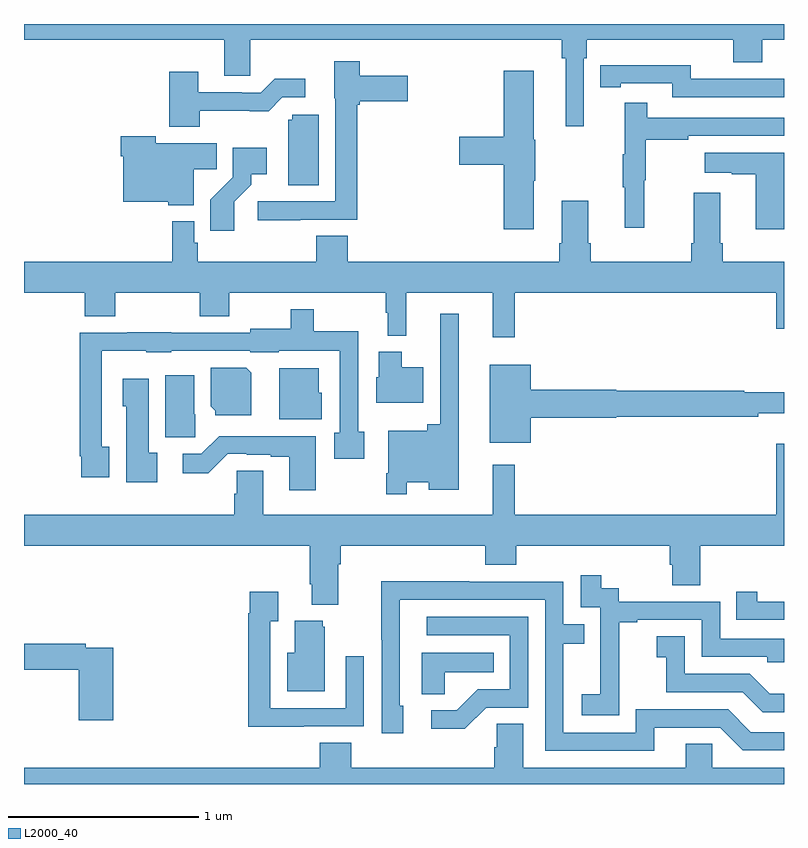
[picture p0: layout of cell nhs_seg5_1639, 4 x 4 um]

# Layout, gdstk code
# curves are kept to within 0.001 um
import gdstk
lib = gdstk.Library(unit=1e-6, precision=1e-09)
def P(c, l, *ps):  # polygons
    for p in ps: c.add(gdstk.Polygon(p, *l))
L2000_40 = (2000, 40)

nhs_seg5_1639 = lib.new_cell('nhs_seg5_1639')
P(nhs_seg5_1639, L2000_40, [(211.947,900.62),(211.961,900.62),(211.961,900.716),(212.732,900.716),(212.732,900.599),(212.885,900.599),(212.885,900.716),(213,900.716),(213,900.799),(209,900.799),(209,900.716),(210.053,900.716),(210.053,900.526),(210.192,900.526),(210.192,900.716),(211.831,900.716),(211.831,900.62),(211.85,900.62),(211.85,900.261),(211.947,900.261)],
  [(210.455,899.769),(210.755,899.769),(210.755,900.374),(210.768,900.374),(210.768,900.392),(211.021,900.392),(211.021,900.526),(210.768,900.526),(210.768,900.604),(210.632,900.604),(210.632,900.408),(210.639,900.408),(210.639,899.865),(210.231,899.865),(210.231,899.767),(210.455,899.767)],
  [(213,900.512),(212.968,900.512),(212.968,900.51),(212.508,900.51),(212.508,900.583),(212.14,900.583),(212.14,900.582),(212.032,900.582),(212.032,900.466),(212.14,900.466),(212.14,900.486),(212.412,900.486),(212.412,900.414),(213,900.414)],
  [(211.684,899.975),(211.692,899.975),(211.692,900.189),(211.684,900.189),(211.684,900.553),(211.526,900.553),(211.526,900.206),(211.29,900.206),(211.29,900.059),(211.526,900.059),(211.526,899.718),(211.684,899.718)],
  [(209.925,900.342),(210.287,900.341),(210.36,900.414),(210.481,900.414),(210.481,900.511),(210.319,900.511),(210.246,900.438),(210.146,900.438),(210.146,900.441),(209.917,900.441),(209.917,900.547),(209.765,900.547),(209.765,900.257),(209.925,900.257)],
  [(212.264,899.976),(212.272,899.976),(212.272,900.19),(212.495,900.19),(212.495,900.21),(213,900.21),(213,900.306),(212.279,900.306),(212.279,900.385),(212.162,900.385),(212.162,900.113),(212.151,900.113),(212.151,899.939),(212.162,899.939),(212.162,899.727),(212.264,899.727)],
  [(210.55,900.321),(210.411,900.321),(210.411,900.294),(210.392,900.294),(210.392,899.95),(210.55,899.95)],
  [(209.893,900.034),(210.014,900.034),(210.014,900.172),(209.693,900.172),(209.693,900.208),(209.51,900.208),(209.51,900.104),(209.522,900.104),(209.522,899.864),(209.76,899.864),(209.76,899.846),(209.893,899.846)],
  [(210.106,899.863),(210.196,899.953),(210.196,900.008),(210.277,900.008),(210.277,900.148),(210.099,900.148),(210.099,899.993),(209.98,899.874),(209.98,899.712),(210.106,899.712)],
  [(213,900.121),(212.583,900.121),(212.583,900.017),(212.726,900.017),(212.726,900.007),(212.852,900.007),(212.852,899.718),(213,899.718)],
  [(212.96,899.196),(213,899.196),(213,899.548),(212.678,899.548),(212.678,899.644),(212.665,899.644),(212.665,899.911),(212.525,899.911),(212.525,899.644),(212.513,899.644),(212.513,899.548),(211.982,899.548),(211.982,899.644),(211.969,899.644),(211.969,899.869),(211.829,899.869),(211.829,899.644),(211.817,899.644),(211.817,899.548),(210.704,899.548),(210.704,899.684),(210.539,899.684),(210.539,899.548),(209.915,899.548),(209.915,899.649),(209.895,899.649),(209.895,899.761),(209.779,899.761),(209.779,899.548),(209,899.548),(209,899.384),(209.321,899.384),(209.321,899.26),(209.481,899.26),(209.481,899.384),(209.926,899.384),(209.926,899.26),(210.081,899.26),(210.081,899.384),(210.903,899.384),(210.903,899.278),(210.914,899.278),(210.914,899.159),(211.013,899.159),(211.013,899.384),(211.466,899.384),(211.466,899.151),(211.583,899.151),(211.583,899.384),(212.96,899.384)],
  [(209.449,898.574),(209.409,898.574),(209.409,899.078),(209.643,899.078),(209.643,899.072),(209.775,899.072),(209.775,899.079),(210.192,899.079),(210.192,899.072),(210.342,899.072),(210.342,899.078),(210.663,899.078),(210.663,898.647),(210.632,898.647),(210.632,898.51),(210.79,898.51),(210.79,898.652),(210.759,898.652),(210.759,899.183),(210.526,899.183),(210.526,899.299),(210.405,899.299),(210.405,899.194),(210.192,899.194),(210.192,899.175),(209.775,899.175),(209.775,899.177),(209.543,899.177),(209.543,899.175),(209.293,899.175),(209.293,898.525),(209.301,898.525),(209.301,898.413),(209.449,898.413)],
  [(211.014,898.388),(211.13,898.388),(211.13,898.349),(211.288,898.349),(211.288,899.275),(211.191,899.275),(211.191,898.693),(211.123,898.693),(211.123,898.657),(210.918,898.657),(210.918,898.435),(210.906,898.435),(210.906,898.323),(211.014,898.323)],
  [(211.102,898.993),(210.988,898.993),(210.988,899.074),(210.866,899.074),(210.866,898.941),(210.854,898.941),(210.854,898.805),(211.102,898.805)],
  [(211.666,898.727),(212.118,898.727),(212.118,898.732),(212.864,898.732),(212.864,898.751),(213,898.751),(213,898.861),(212.792,898.861),(212.792,898.868),(212.118,898.868),(212.118,898.874),(211.666,898.874),(211.666,899.005),(211.451,899.005),(211.451,898.595),(211.666,898.595)],
  [(210.196,898.964),(210.17,898.99),(209.984,898.99),(209.984,898.786),(210.006,898.764),(210.006,898.739),(210.196,898.739)],
  [(210.568,898.857),(210.55,898.857),(210.55,898.988),(210.344,898.988),(210.344,898.718),(210.568,898.718)],
  [(209.9,898.746),(209.896,898.746),(209.896,898.951),(209.744,898.951),(209.744,898.623),(209.9,898.623)],
  [(209.701,898.542),(209.656,898.542),(209.656,898.933),(209.519,898.933),(209.519,898.788),(209.537,898.788),(209.537,898.388),(209.701,898.388)],
  [(210.535,898.63),(210.028,898.63),(209.934,898.536),(209.835,898.536),(209.835,898.434),(209.97,898.434),(210.072,898.536),(210.172,898.536),(210.172,898.533),(210.299,898.533),(210.299,898.521),(210.395,898.521),(210.395,898.344),(210.535,898.344)],
  [(210.655,897.956),(210.668,897.956),(210.668,898.052),(211.427,898.052),(211.427,897.953),(211.592,897.953),(211.592,898.052),(212.399,898.052),(212.399,897.954),(212.411,897.954),(212.411,897.844),(212.559,897.844),(212.559,898.052),(213,898.052),(213,898.591),(212.96,898.591),(212.96,898.216),(211.583,898.216),(211.583,898.48),(211.466,898.48),(211.466,898.216),(210.259,898.216),(210.259,898.448),(210.12,898.448),(210.12,898.326),(210.107,898.326),(210.107,898.216),(209,898.216),(209,898.052),(210.503,898.052),(210.503,897.85),(210.515,897.85),(210.515,897.743),(210.655,897.743)],
  [(212.133,897.367),(212.132,897.367),(212.132,897.651),(212.227,897.651),(212.227,897.663),(212.568,897.663),(212.568,897.468),(212.913,897.468),(212.913,897.441),(213,897.441),(213,897.564),(212.664,897.564),(212.664,897.759),(212.13,897.759),(212.13,897.828),(212.038,897.828),(212.038,897.898),(211.929,897.898),(211.929,897.729),(212.034,897.729),(212.034,897.5),(212.033,897.5),(212.033,897.271),(211.935,897.271),(211.935,897.161),(212.133,897.161)],
  [(212.317,897.096),(212.664,897.096),(212.784,896.976),(213,896.976),(213,897.072),(212.826,897.072),(212.706,897.192),(212.22,897.192),(212.22,897.069),(211.839,897.069),(211.839,897.538),(211.949,897.538),(211.949,897.639),(211.839,897.639),(211.839,897.864),(211.343,897.864),(211.343,897.866),(210.88,897.866),(210.88,897.559),(210.882,897.559),(210.882,897.066),(210.997,897.066),(210.997,897.21),(210.978,897.21),(210.978,897.768),(211.743,897.768),(211.743,896.973),(212.317,896.973)],
  [(213,897.759),(212.86,897.759),(212.86,897.811),(212.749,897.811),(212.749,897.663),(213,897.663)],
  [(210.473,897.102),(210.789,897.102),(210.789,897.472),(210.693,897.472),(210.693,897.198),(210.297,897.198),(210.297,897.655),(210.337,897.655),(210.337,897.811),(210.189,897.811),(210.189,897.698),(210.181,897.698),(210.181,897.101),(210.473,897.101)],
  [(211.434,897.201),(211.653,897.201),(211.653,897.678),(211.119,897.678),(211.119,897.582),(211.557,897.582),(211.557,897.297),(211.388,897.297),(211.277,897.186),(211.143,897.186),(211.143,897.089),(211.321,897.089)],
  [(210.583,897.627),(210.572,897.627),(210.572,897.658),(210.425,897.658),(210.425,897.49),(210.386,897.49),(210.386,897.287),(210.583,897.287)],
  [(213,897.274),(212.924,897.274),(212.82,897.378),(212.478,897.378),(212.478,897.577),(212.331,897.577),(212.331,897.467),(212.38,897.467),(212.38,897.282),(212.783,897.282),(212.888,897.177),(213,897.177)],
  [(209.471,897.516),(209.324,897.516),(209.324,897.536),(209,897.536),(209,897.4),(209.288,897.4),(209.288,897.135),(209.471,897.135)],
  [(211.215,897.386),(211.472,897.386),(211.472,897.49),(211.094,897.49),(211.094,897.271),(211.215,897.271)],
  [(213,896.884),(212.622,896.884),(212.622,897.011),(212.483,897.011),(212.483,896.884),(211.627,896.884),(211.627,897.116),(211.488,897.116),(211.488,896.993),(211.475,896.993),(211.475,896.884),(210.722,896.884),(210.722,897.017),(210.557,897.017),(210.557,896.884),(209,896.884),(209,896.799),(213,896.799)])

lib.write_gds('nhs_seg5_1639.gds')
